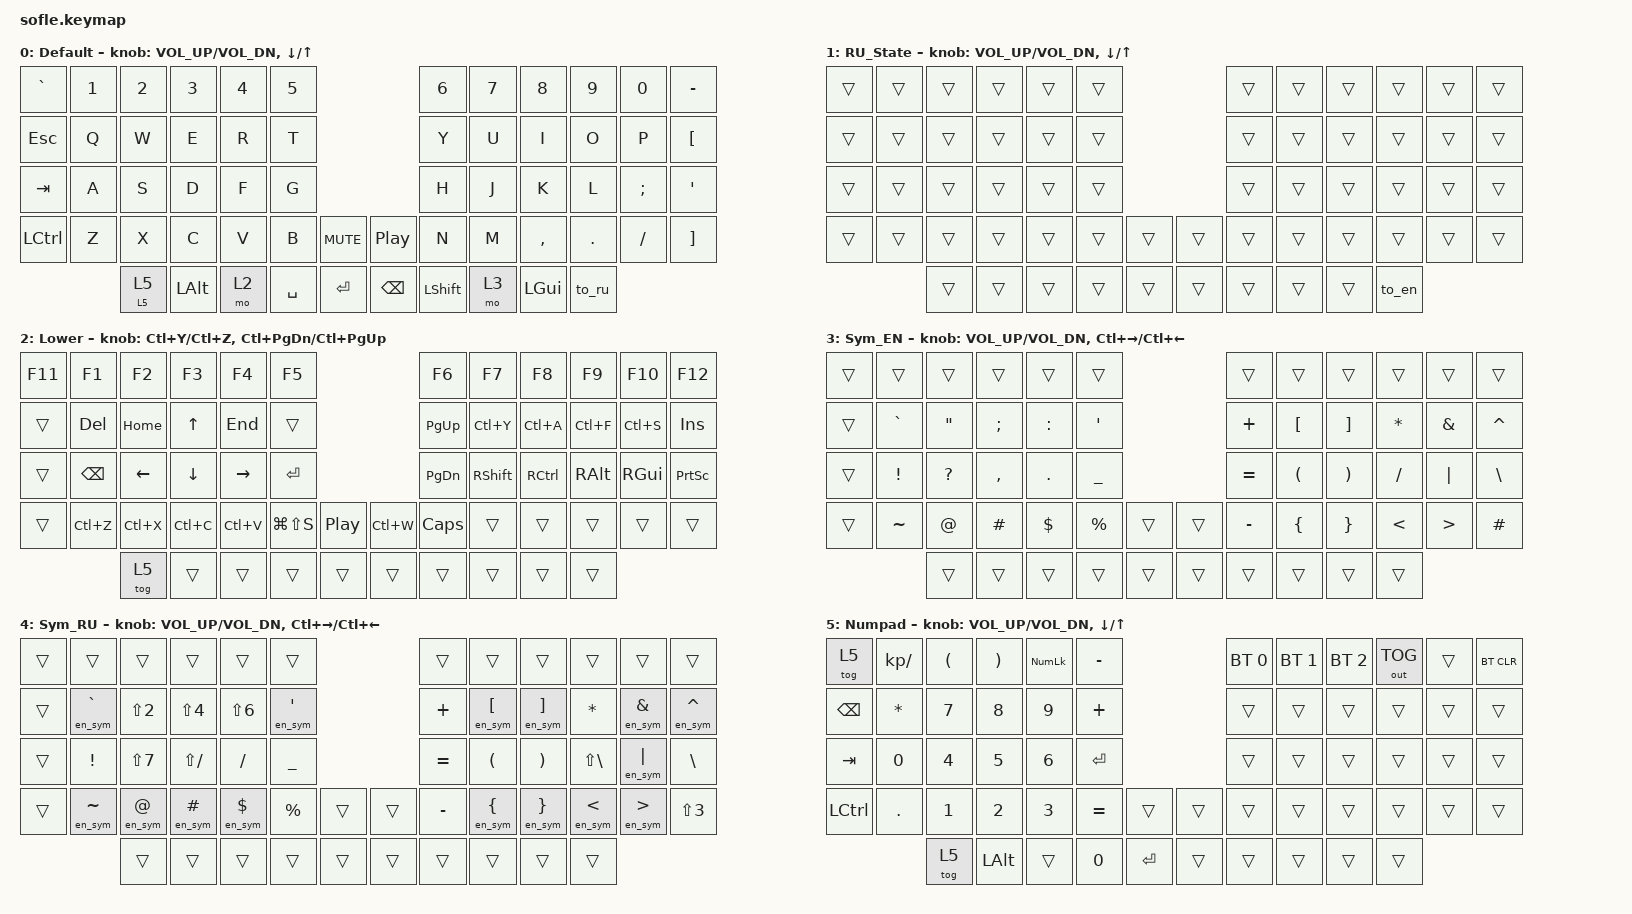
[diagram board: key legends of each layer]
#include <behaviors.dtsi>
#include <dt-bindings/zmk/keys.h>
#include <dt-bindings/zmk/bt.h>
#include <dt-bindings/zmk/outputs.h>

#define LANG_EN LC(LS(N1))
#define LANG_RU LC(LS(N2))

&left_encoder {
    steps = <40>;
};

&right_encoder {
    steps = <40>;
};

/ {
    macros {
        to_ru: to_ru {
            compatible = "zmk,behavior-macro";
            #binding-cells = <0>;
            wait-ms = <15>;
            tap-ms = <15>;
            bindings = <&macro_tap &kp LANG_RU &to 1>;
        };

        to_en: to_en {
            compatible = "zmk,behavior-macro";
            #binding-cells = <0>;
            wait-ms = <15>;
            tap-ms = <15>;
            bindings = <&macro_tap &kp LANG_EN &to 0>;
        };

        en_sym: en_sym {
            compatible = "zmk,behavior-macro-one-param";
            #binding-cells = <1>;
            wait-ms = <20>;
            tap-ms = <15>;
            bindings
                = <&macro_tap &kp LANG_EN>
                , <&macro_param_1to1>
                , <&macro_tap &kp MACRO_PLACEHOLDER>
                , <&macro_tap &kp LANG_RU>
                ;
        };
    };

    behaviors {
        mo_tog: behavior_mo_tog {
            compatible = "zmk,behavior-hold-tap";
            #binding-cells = <2>;
            flavor = "hold-preferred";
            tapping-term-ms = <200>;
            bindings = <&mo>, <&tog>;
        };
    };

    conditional_layers {
        compatible = "zmk,conditional-layers";
        ru_symbols_override {
            if-layers = <1 3>;
            then-layer = <4>;
        };
    };

    sensors {
        compatible = "zmk,keymap-sensors";
        triggers-per-rotation = <20>;
    };
    
    keymap {
        compatible = "zmk,keymap";

        default_layer {
            display-name = "Default";
            bindings = <
&kp GRAVE &kp N1 &kp N2   &kp N3   &kp N4      &kp N5                           &kp N6   &kp N7    &kp N8    &kp N9  &kp N0   &kp MINUS
&kp ESC   &kp Q  &kp W    &kp E    &kp R       &kp T                            &kp Y    &kp U     &kp I     &kp O   &kp P    &kp LBKT
&kp TAB   &kp A  &kp S    &kp D    &kp F       &kp G                            &kp H    &kp J     &kp K     &kp L   &kp SEMI &kp SQT
&kp LCTRL &kp Z  &kp X    &kp C    &kp V       &kp B     &kp C_MUTE  &kp C_PP   &kp N    &kp M     &kp COMMA &kp DOT &kp FSLH &kp RBKT
                 &mo_tog 5 5 &kp LALT &mo 2    &kp SPACE &kp RET     &kp BSPC   &kp LSHFT &mo 3    &kp LGUI  &to_ru
            >;
            sensor-bindings = <&inc_dec_kp C_VOL_UP C_VOL_DN &inc_dec_kp DOWN UP>;
        };

        ru_layer {
            display-name = "RU_State";
            bindings = <
&trans &trans &trans &trans &trans &trans                  &trans &trans &trans &trans &trans &trans
&trans &trans &trans &trans &trans &trans                  &trans &trans &trans &trans &trans &trans
&trans &trans &trans &trans &trans &trans                  &trans &trans &trans &trans &trans &trans
&trans &trans &trans &trans &trans &trans &trans    &trans &trans &trans &trans &trans &trans &trans
              &trans &trans &trans &trans &trans    &trans &trans &trans &trans &to_en
            >;
            sensor-bindings = <&inc_dec_kp C_VOL_UP C_VOL_DN &inc_dec_kp DOWN UP>;
        };

        lower_layer {
            display-name = "Lower";
            bindings = <
&kp F11 &kp F1    &kp F2    &kp F3    &kp F4    &kp F5                         &kp F6    &kp F7    &kp F8    &kp F9    &kp F10   &kp F12
&trans  &kp DEL   &kp HOME  &kp UP    &kp END   &trans                         &kp PG_UP &kp LC(Y) &kp LC(A) &kp LC(F) &kp LC(S) &kp INS
&trans  &kp BSPC  &kp LEFT  &kp DOWN  &kp RIGHT &kp RET                        &kp PG_DN &kp RSHFT &kp RCTRL &kp RALT  &kp RGUI  &kp PSCRN
&trans  &kp LC(Z) &kp LC(X) &kp LC(C) &kp LC(V) &kp LG(LS(S)) &kp C_PP &kp LC(W) &kp CAPS &trans   &trans    &trans    &trans    &trans
                  &tog 5    &trans    &trans    &trans        &trans   &trans  &trans    &trans    &trans    &trans
            >;
            sensor-bindings = <&inc_dec_kp LC(Y) LC(Z) &inc_dec_kp LC(PG_DN) LC(PG_UP)>;
        };

        sym_en_layer {
            display-name = "Sym_EN";
            bindings = <
&trans &trans    &trans    &trans    &trans    &trans                     &trans    &trans   &trans   &trans   &trans   &trans
&trans &kp GRAVE &kp DQT   &kp SEMI  &kp COLON &kp SQT                    &kp PLUS  &kp LBKT &kp RBKT &kp STAR &kp AMPS &kp CARET
&trans &kp EXCL  &kp QMARK &kp COMMA &kp DOT   &kp UNDER                  &kp EQUAL &kp LPAR &kp RPAR &kp FSLH &kp PIPE &kp BSLH
&trans &kp TILDE &kp AT    &kp HASH  &kp DLLR  &kp PRCNT &trans    &trans &kp MINUS &kp LBRC &kp RBRC &kp LT   &kp GT   &kp HASH
                 &trans    &trans    &trans    &trans    &trans    &trans &trans    &trans   &trans   &trans
            >;
            sensor-bindings = <&inc_dec_kp C_VOL_UP C_VOL_DN &inc_dec_kp LC(RIGHT) LC(LEFT)>;
        };

        sym_ru_layer {
            display-name = "Sym_RU";
            bindings = <
&trans &trans        &trans     &trans       &trans       &trans                     &trans    &trans       &trans       &trans       &trans       &trans
&trans &en_sym GRAVE &kp LS(N2) &kp LS(N4)   &kp LS(N6)   &en_sym SQT                &kp PLUS  &en_sym LBKT &en_sym RBKT &kp STAR     &en_sym AMPS &en_sym CARET
&trans &kp EXCL      &kp LS(N7) &kp LS(FSLH) &kp FSLH     &kp UNDER                  &kp EQUAL &kp LPAR     &kp RPAR     &kp LS(BSLH) &en_sym PIPE &kp BSLH
&trans &en_sym TILDE &en_sym AT &en_sym HASH &en_sym DLLR &kp PRCNT &trans    &trans &kp MINUS &en_sym LBRC &en_sym RBRC &en_sym LT   &en_sym GT   &kp LS(N3)
                     &trans     &trans       &trans       &trans    &trans    &trans &trans    &trans       &trans       &trans
            >;
            sensor-bindings = <&inc_dec_kp C_VOL_UP C_VOL_DN &inc_dec_kp LC(RIGHT) LC(LEFT)>;
        };

        numpad_layer {
            display-name = "Numpad";
            bindings = <
&tog 5    &kp KP_SLASH    &kp LPAR &kp RPAR &kp KP_NUM &kp MINUS                 &bt BT_SEL 0 &bt BT_SEL 1 &bt BT_SEL 2 &out OUT_TOG &trans &bt BT_CLR
&kp BSPC  &kp STAR        &kp N7   &kp N8   &kp N9     &kp PLUS                  &trans       &trans       &trans       &trans       &trans &trans
&kp TAB   &kp N0          &kp N4   &kp N5   &kp N6     &kp RET                   &trans       &trans       &trans       &trans       &trans &trans
&kp LCTRL &kp DOT         &kp N1   &kp N2   &kp N3     &kp EQUAL  &trans  &trans &trans       &trans       &trans       &trans       &trans &trans
                          &tog 5   &kp LALT &trans     &kp N0     &kp RET &trans &trans       &trans       &trans       &trans
            >;
            sensor-bindings = <&inc_dec_kp C_VOL_UP C_VOL_DN &inc_dec_kp DOWN UP>;
        };
    };
};
